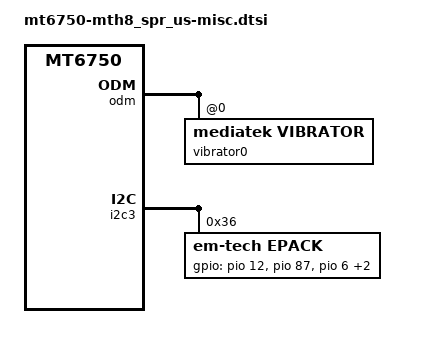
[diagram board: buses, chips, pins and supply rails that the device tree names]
/*
 * LG Electronics TH8 misc device tree source
 *
 * Copyright (c) 2017 LG Electronics Co., Ltd.
 *              http://www.lge.com
 *
 */

&odm {
	vibrator0:vibrator@0 {
		compatible = "mediatek,vibrator";
		vib_timer = <25>;
		vib_limit = <9>;
		vib_vol= <6>;
	};
};

&i2c3 {
	epack: epack@36 {
		compatible = "em-tech,epack";
		status = "ok";

		reg = <0x36>;

		interrupt-parent = <&eintc>;
		interrupts = <12 IRQ_TYPE_LEVEL_HIGH>,
				<87 IRQ_TYPE_LEVEL_HIGH>,
				<6 IRQ_TYPE_LEVEL_HIGH>;
		debounce = <12 0>,
				<87 0>,
				<6 0>;

		gpio = <&pio 12 0>, /* EPID */
			<&pio 87 0>,	/* VIN_AVA */
			<&pio 6 0>,	/* VCHG_DET */
			<&pio 14 0>,	/* VIN_SEL */
			<&pio 37 0>;	/* VBUS_SWITCH_EN */

		pinctrl-names = "init",
				"usb_main",
				"usb_epack",
				"pwr_main",
				"pwr_epack";
		pinctrl-0 = <&epack_init>;
		pinctrl-1 = <&epack_usb_main>;
		pinctrl-2 = <&epack_usb_epack>;
		pinctrl-3 = <&epack_pwr_main>;
		pinctrl-4 = <&epack_pwr_epack>;
	};
};

&pio {
	epack_init: init {
		ep_det {
			pins = <PINMUX_GPIO12__FUNC_GPIO12>;
			slew-rate = <0>;
			bias-disable;
		};
		vchg_det {
			pins = <PINMUX_GPIO6__FUNC_GPIO6>;
			slew-rate = <0>;
			bias-disable;
		};
		df_in {
			pins = <PINMUX_GPIO86__FUNC_GPIO86>;
			slew-rate = <1>;
			output-low;
		};
		vin_ava {
			pins = <PINMUX_GPIO87__FUNC_GPIO87>;
			slew-rate = <0>;
			bias-disable;
		};
	};

	epack_usb_main: usb_main {
		usb_switch_s {
			pins = <PINMUX_GPIO7__FUNC_GPIO7>;
			slew-rate = <1>;
			output-low;
		};
		usb_switch_oe {
			pins = <PINMUX_GPIO9__FUNC_GPIO9>;
			slew-rate = <1>;
			output-low;
		};
	};
	
	epack_usb_epack: usb_epack {
		usb_switch_s {
			pins = <PINMUX_GPIO7__FUNC_GPIO7>;
			slew-rate = <1>;
			output-high;
		};
		usb_switch_oe {
			pins = <PINMUX_GPIO9__FUNC_GPIO9>;
			slew-rate = <1>;
			output-low;
		};
	};
	
	epack_pwr_main: pwr_main {
		vin_sel {
			pins = <PINMUX_GPIO14__FUNC_GPIO14>;
			slew-rate = <1>;
			output-high;
		};
		vbus_switch_en {
			pins = <PINMUX_GPIO37__FUNC_GPIO37>;
			slew-rate = <1>;
			output-high;
		};
	};

	epack_pwr_epack: pwr_epack {
		vin_sel {
			pins = <PINMUX_GPIO14__FUNC_GPIO14>;
			slew-rate = <1>;
			output-low;
		};
		vbus_switch_en {
			pins = <PINMUX_GPIO37__FUNC_GPIO37>;
			slew-rate = <1>;
			output-high;
		};
	};

};
